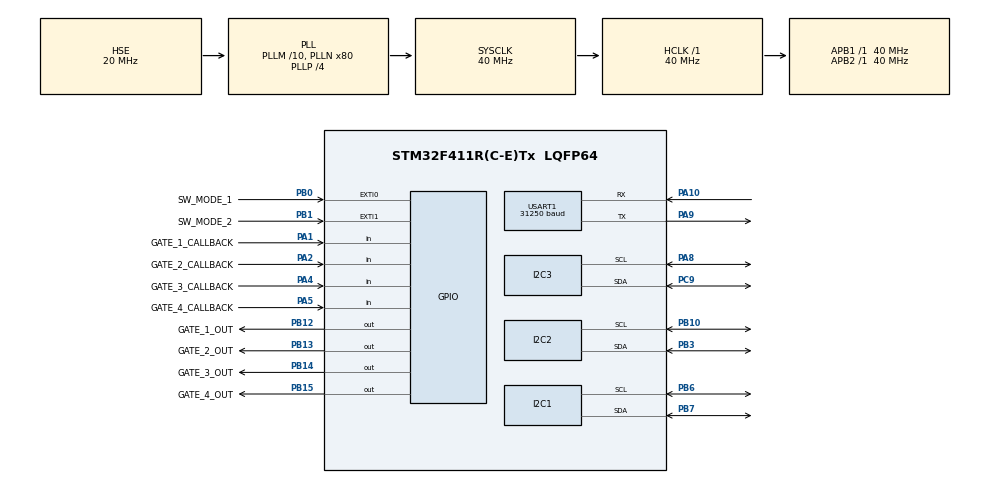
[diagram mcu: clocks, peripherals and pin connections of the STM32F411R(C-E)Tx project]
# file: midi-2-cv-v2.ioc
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I2C1.I2C_Mode=I2C_Fast
I2C2.I2C_Mode=I2C_Fast
I2C3.I2C_Mode=I2C_Fast
Mcu.Family=STM32F4
Mcu.Name=STM32F411R(C-E)Tx
Mcu.Package=LQFP64
NVIC.EXTI0_IRQn=true\:0\:0\:false\:false\:true\:true\:true\:true
NVIC.EXTI1_IRQn=true\:0\:0\:false\:false\:true\:true\:true\:true
NVIC.PriorityGroup=NVIC_PRIORITYGROUP_4
NVIC.RCC_IRQn=true\:0\:0\:false\:false\:true\:true\:false\:true
NVIC.USART1_IRQn=true\:0\:0\:false\:false\:true\:true\:true\:true
PA1.GPIO_Label=GATE_1_CALLBACK
PA1.GPIO_PuPd=GPIO_NOPULL
PA1.Signal=GPIO_Input
PA10.Mode=Asynchronous
PA10.Signal=USART1_RX
PA13.Mode=Serial_Wire
PA13.Signal=SYS_JTMS-SWDIO
PA14.Mode=Serial_Wire
PA14.Signal=SYS_JTCK-SWCLK
PA2.GPIO_Label=GATE_2_CALLBACK
PA2.GPIO_PuPd=GPIO_NOPULL
PA2.Signal=GPIO_Input
PA4.GPIO_Label=GATE_3_CALLBACK
PA4.GPIO_PuPd=GPIO_NOPULL
PA4.Signal=GPIO_Input
PA5.GPIO_Label=GATE_4_CALLBACK
PA5.GPIO_PuPd=GPIO_NOPULL
PA5.Signal=GPIO_Input
PA8.GPIO_Pu=GPIO_PULLUP
PA8.Mode=I2C
PA8.Signal=I2C3_SCL
PA9.Mode=Asynchronous
PA9.Signal=USART1_TX
PB0.GPIO_Label=SW_MODE_1
PB0.GPIO_ModeDefaultEXTI=GPIO_MODE_IT_RISING_FALLING
PB0.GPIO_PuPd=GPIO_PULLUP
PB0.Signal=GPXTI0
PB1.GPIO_Label=SW_MODE_2
PB1.GPIO_ModeDefaultEXTI=GPIO_MODE_IT_RISING_FALLING
PB1.GPIO_PuPd=GPIO_PULLUP
PB1.Signal=GPXTI1
PB10.GPIO_Pu=GPIO_PULLUP
PB10.Mode=I2C
PB10.Signal=I2C2_SCL
PB12.GPIO_Label=GATE_1_OUT
PB12.GPIO_Speed=GPIO_SPEED_FREQ_MEDIUM
PB12.Signal=GPIO_Output
PB13.GPIO_Label=GATE_2_OUT
PB13.Signal=GPIO_Output
PB14.GPIO_Label=GATE_3_OUT
PB14.Signal=GPIO_Output
PB15.GPIO_Label=GATE_4_OUT
PB15.Signal=GPIO_Output
PB3.GPIO_Pu=GPIO_PULLUP
PB3.Mode=I2C
PB3.Signal=I2C2_SDA
PB6.GPIO_Pu=GPIO_PULLUP
PB6.Mode=I2C
PB6.Signal=I2C1_SCL
PB7.GPIO_Pu=GPIO_PULLUP
PB7.Mode=I2C
PB7.Signal=I2C1_SDA
PC9.GPIO_Pu=GPIO_PULLUP
PC9.Mode=I2C
PC9.Signal=I2C3_SDA
PH0\ -\ OSC_IN.Mode=HSE-External-Oscillator
PH0\ -\ OSC_IN.Signal=RCC_OSC_IN
PH1\ -\ OSC_OUT.Mode=HSE-External-Oscillator
PH1\ -\ OSC_OUT.Signal=RCC_OSC_OUT
ProjectManager.HeapSize=0x200
ProjectManager.StackSize=0x400
ProjectManager.TargetToolchain=STM32CubeIDE
RCC.48MHZClocksFreq_Value=40000000
RCC.AHBFreq_Value=40000000
RCC.APB1Freq_Value=40000000
RCC.APB1TimFreq_Value=40000000
RCC.APB2Freq_Value=40000000
RCC.APB2TimFreq_Value=40000000
RCC.CortexFreq_Value=40000000
RCC.HCLKFreq_Value=40000000
RCC.HSE_VALUE=20000000
RCC.HSI_VALUE=16000000
RCC.LSE_VALUE=32768
RCC.PLLM=10
RCC.PLLN=80
RCC.PLLP=RCC_PLLP_DIV4
RCC.PLLSourceVirtual=RCC_PLLSOURCE_HSE
RCC.SYSCLKFreq_VALUE=40000000
RCC.SYSCLKSource=RCC_SYSCLKSOURCE_PLLCLK
RCC.VCOOutputFreq_Value=160000000
USART1.BaudRate=31250
USART1.Mode=MODE_TX_RX
USART1.VirtualMode=VM_ASYNC
VP_RTC_VS_RTC_Activate.Mode=RTC_Enabled
VP_TIM1_VS_ClockSourceINT.Mode=Internal
board=custom

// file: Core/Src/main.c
/* USER CODE BEGIN Header */
/**
  ******************************************************************************
  * @file           : main.c
  * @brief          : Main program body
  ******************************************************************************
  * @attention
  *
  * Copyright (c) 2025 STMicroelectronics.
  * All rights reserved.
  *
  * This software is licensed under terms that can be found in the LICENSE file
  * in the root directory of this software component.
  * If no LICENSE file comes with this software, it is provided AS-IS.
  *
  ******************************************************************************
  */
/* USER CODE END Header */
#include "main.h"

/* USER CODE BEGIN Includes */
#include <sys/types.h>

#include "app/mcp4728.h"
#include "app/midi_handler.h"
#include "app/midi_processor.h"

/* USER CODE END Includes */

I2C_HandleTypeDef hi2c1;
I2C_HandleTypeDef hi2c2;
I2C_HandleTypeDef hi2c3;

RTC_HandleTypeDef hrtc;

TIM_HandleTypeDef htim1;

UART_HandleTypeDef huart1;

/* USER CODE BEGIN PV */

uint8_t midi_received_buf;
struct MIDI_PROCESSOR_config midi_processor_config;

// The mode switch is mechanical and bounces for a few milliseconds. The EXTI handler only
// records that an edge happened; the main loop acts once the contacts have settled.
#define MODE_SWITCH_DEBOUNCE_MS 20
static volatile bool mode_change_pending = false;
static volatile uint32_t mode_change_tick = 0;

/* USER CODE END PV */

void SystemClock_Config(void);
static void MX_GPIO_Init(void);
static void MX_I2C1_Init(void);
static void MX_I2C2_Init(void);
static void MX_I2C3_Init(void);
static void MX_USART1_UART_Init(void);
static void MX_RTC_Init(void);
static void MX_TIM1_Init(void);

/* USER CODE BEGIN 0 */

/*
 * This is the interrupt handler. Make sure that the USART global interrupt is enabled in the IOC
 */
void HAL_UART_RxCpltCallback(UART_HandleTypeDef* huart)
{
    if (huart->Instance == huart1.Instance)
    {
        MIDI_HANDLER_push_buffer(&midi_received_buf);
        HAL_UART_Receive_IT(&huart1, &midi_received_buf, 1);
    }
}

/*
 * On any UART error the HAL aborts the pending receive. Overrun is the realistic one here: a byte
 * arriving while the previous one is still unread. Without re-arming, MIDI would stop dead until
 * the module is power cycled.
 */
void HAL_UART_ErrorCallback(UART_HandleTypeDef* huart)
{
    if (huart->Instance != huart1.Instance)
    {
        return;
    }

    // Clearing any one of these clears the shared status register read sequence
    __HAL_UART_CLEAR_OREFLAG(huart);
    __HAL_UART_CLEAR_NEFLAG(huart);
    __HAL_UART_CLEAR_FEFLAG(huart);
    __HAL_UART_CLEAR_PEFLAG(huart);

    // The byte that caused the error is lost; the parser recovers on the next status byte
    HAL_UART_Receive_IT(&huart1, &midi_received_buf, 1);
}

void HAL_GPIO_EXTI_Callback(uint16_t GPIO_Pin)
{
    // Signature is fixed by the HAL; both mode-switch lines land here. HAL_GPIO_EXTI_IRQHandler
    // has already cleared the pending bit, so there is nothing to acknowledge.
    UNUSED(GPIO_Pin);

    // Only timestamp the edge. Running MIDI_PROCESSOR_mode_changed() here would let
    // reset_channels() preempt note handling half way through an update, and a bouncing switch
    // would re-enter it several times per flick.
    mode_change_pending = true;
    mode_change_tick = HAL_GetTick();
}

/* USER CODE END 0 */

int main(void)
{

  /* MCU Configuration--------------------------------------------------------*/

  /* Reset of all peripherals, Initializes the Flash interface and the Systick. */
  HAL_Init();

  /* Configure the system clock */
  SystemClock_Config();

  /* Initialize all configured peripherals */
  MX_GPIO_Init();
  MX_I2C1_Init();
  MX_I2C2_Init();
  MX_I2C3_Init();
  MX_USART1_UART_Init();
  MX_RTC_Init();
  MX_TIM1_Init();
  /* USER CODE BEGIN 2 */

    // Delay to let things settle before user init
    HAL_Delay(250);

    /*
     * Initialize all the I2C devices for DAC
    */
    if (HAL_I2C_Init(&hi2c1) != HAL_OK)
    {
        Error_Handler();
    }
    if (HAL_I2C_Init(&hi2c2) != HAL_OK)
    {
        Error_Handler();
    }
    if (HAL_I2C_Init(&hi2c3) != HAL_OK)
    {
        Error_Handler();
    }

    /*
     * Put the DACs into the configuration the output scaling assumes: internal 2.048V reference at
     * gain 1. Fast Write carries no Vref/gain bits, so without this every voltage depends on
     * whatever the chips happen to hold in EEPROM.
     *
     * A failure here is deliberately not fatal: a module that outputs mis-scaled CV is still more
     * useful on stage than one that sits in Error_Handler(), and the most likely cause is a
     * transient I2C fault rather than a dead DAC.
     */
    MCP4728_Init(&hi2c1);
    MCP4728_Init(&hi2c2);
    MCP4728_Init(&hi2c3);

    /*
     * Set up the MIDI Handler that will process all incoming MIDI messages and convert them into MIDI events
     */
    Buffer rx_buffer;

    struct MIDI_HANDLER_config midi_handler_config;
    midi_handler_config.buffer = &rx_buffer;

    // A failure here means the ring buffer could not be allocated, so no MIDI can be received at
    // all. Nothing downstream works, so fail loudly rather than run as a dead module.
    if (MIDI_HANDLER_init(&midi_handler_config) < 0)
    {
        Error_Handler();
    }

    /*
     * Set up the MIDI Processor, that will convert the midi event into output over the DAC/Gates
     */
    midi_processor_config.cv_dac1 = &hi2c1;
    midi_processor_config.vel_dac2 = &hi2c2;
    midi_processor_config.mod_dac3 = &hi2c3;
    midi_processor_config.mode = MIDI_MODE_POLY;

    // Which outputs are usable is measured from the jack-detect lines, not configured here
    if (MIDI_PROCESSOR_init(&midi_processor_config) < 0)
    {
        Error_Handler();
    }

  /* USER CODE END 2 */

  /* Infinite loop */
  /* USER CODE BEGIN WHILE */

    // Start the first receive operation
    HAL_UART_Receive_IT(&huart1, &midi_received_buf, 1);

    // Delay to let things set up
    HAL_Delay(250);

    MIDI_PROCESSOR_mode_changed();

    HAL_Delay(10);

    while (1)
    {
        // Apply a mode change once the switch has been quiet for the debounce window. Each new
        // edge pushes the deadline out, so only the final resting position takes effect.
        if (mode_change_pending && (HAL_GetTick() - mode_change_tick) >= MODE_SWITCH_DEBOUNCE_MS)
        {
            mode_change_pending = false;
            MIDI_PROCESSOR_mode_changed();
        }

        // initialize a midi_event
        MIDI_event midi_event;

    /* USER CODE END WHILE */

    /* USER CODE BEGIN 3 */

        // if there is an event
        if (MIDI_HANDLER_get_event(&midi_event) > 0)
        {
            // process the midi event
            MIDI_PROCESSOR_handle_event(&midi_event);
        }
    }
  /* USER CODE END 3 */
}

void SystemClock_Config(void)
{
  RCC_OscInitTypeDef RCC_OscInitStruct = {0};
  RCC_ClkInitTypeDef RCC_ClkInitStruct = {0};

  /** Configure the main internal regulator output voltage
  */
  __HAL_RCC_PWR_CLK_ENABLE();
  __HAL_PWR_VOLTAGESCALING_CONFIG(PWR_REGULATOR_VOLTAGE_SCALE1);

  /** Initializes the RCC Oscillators according to the specified parameters
  * in the RCC_OscInitTypeDef structure.
  */
  RCC_OscInitStruct.OscillatorType = RCC_OSCILLATORTYPE_LSI|RCC_OSCILLATORTYPE_HSE;
  RCC_OscInitStruct.HSEState = RCC_HSE_ON;
  RCC_OscInitStruct.LSIState = RCC_LSI_ON;
  RCC_OscInitStruct.PLL.PLLState = RCC_PLL_ON;
  RCC_OscInitStruct.PLL.PLLSource = RCC_PLLSOURCE_HSE;
  RCC_OscInitStruct.PLL.PLLM = 10;
  RCC_OscInitStruct.PLL.PLLN = 80;
  RCC_OscInitStruct.PLL.PLLP = RCC_PLLP_DIV4;
  RCC_OscInitStruct.PLL.PLLQ = 4;
  if (HAL_RCC_OscConfig(&RCC_OscInitStruct) != HAL_OK)
  {
    Error_Handler();
  }

  /** Initializes the CPU, AHB and APB buses clocks
  */
  RCC_ClkInitStruct.ClockType = RCC_CLOCKTYPE_HCLK|RCC_CLOCKTYPE_SYSCLK
                              |RCC_CLOCKTYPE_PCLK1|RCC_CLOCKTYPE_PCLK2;
  RCC_ClkInitStruct.SYSCLKSource = RCC_SYSCLKSOURCE_PLLCLK;
  RCC_ClkInitStruct.AHBCLKDivider = RCC_SYSCLK_DIV1;
  RCC_ClkInitStruct.APB1CLKDivider = RCC_HCLK_DIV1;
  RCC_ClkInitStruct.APB2CLKDivider = RCC_HCLK_DIV1;

  if (HAL_RCC_ClockConfig(&RCC_ClkInitStruct, FLASH_LATENCY_1) != HAL_OK)
  {
    Error_Handler();
  }
}

static void MX_I2C1_Init(void)
{

  hi2c1.Instance = I2C1;
  hi2c1.Init.ClockSpeed = 400000;
  hi2c1.Init.DutyCycle = I2C_DUTYCYCLE_2;
  hi2c1.Init.OwnAddress1 = 0;
  hi2c1.Init.AddressingMode = I2C_ADDRESSINGMODE_7BIT;
  hi2c1.Init.DualAddressMode = I2C_DUALADDRESS_DISABLE;
  hi2c1.Init.OwnAddress2 = 0;
  hi2c1.Init.GeneralCallMode = I2C_GENERALCALL_DISABLE;
  hi2c1.Init.NoStretchMode = I2C_NOSTRETCH_DISABLE;
  if (HAL_I2C_Init(&hi2c1) != HAL_OK)
  {
    Error_Handler();
  }

}

static void MX_I2C2_Init(void)
{

  hi2c2.Instance = I2C2;
  hi2c2.Init.ClockSpeed = 400000;
  hi2c2.Init.DutyCycle = I2C_DUTYCYCLE_2;
  hi2c2.Init.OwnAddress1 = 0;
  hi2c2.Init.AddressingMode = I2C_ADDRESSINGMODE_7BIT;
  hi2c2.Init.DualAddressMode = I2C_DUALADDRESS_DISABLE;
  hi2c2.Init.OwnAddress2 = 0;
  hi2c2.Init.GeneralCallMode = I2C_GENERALCALL_DISABLE;
  hi2c2.Init.NoStretchMode = I2C_NOSTRETCH_DISABLE;
  if (HAL_I2C_Init(&hi2c2) != HAL_OK)
  {
    Error_Handler();
  }

}

static void MX_I2C3_Init(void)
{

  hi2c3.Instance = I2C3;
  hi2c3.Init.ClockSpeed = 400000;
  hi2c3.Init.DutyCycle = I2C_DUTYCYCLE_2;
  hi2c3.Init.OwnAddress1 = 0;
  hi2c3.Init.AddressingMode = I2C_ADDRESSINGMODE_7BIT;
  hi2c3.Init.DualAddressMode = I2C_DUALADDRESS_DISABLE;
  hi2c3.Init.OwnAddress2 = 0;
  hi2c3.Init.GeneralCallMode = I2C_GENERALCALL_DISABLE;
  hi2c3.Init.NoStretchMode = I2C_NOSTRETCH_DISABLE;
  if (HAL_I2C_Init(&hi2c3) != HAL_OK)
  {
    Error_Handler();
  }

}

static void MX_RTC_Init(void)
{

  /** Initialize RTC Only
  */
  hrtc.Instance = RTC;
  hrtc.Init.HourFormat = RTC_HOURFORMAT_24;
  hrtc.Init.AsynchPrediv = 127;
  hrtc.Init.SynchPrediv = 255;
  hrtc.Init.OutPut = RTC_OUTPUT_DISABLE;
  hrtc.Init.OutPutPolarity = RTC_OUTPUT_POLARITY_HIGH;
  hrtc.Init.OutPutType = RTC_OUTPUT_TYPE_OPENDRAIN;
  if (HAL_RTC_Init(&hrtc) != HAL_OK)
  {
    Error_Handler();
  }

}

static void MX_TIM1_Init(void)
{

  TIM_ClockConfigTypeDef sClockSourceConfig = {0};
  TIM_MasterConfigTypeDef sMasterConfig = {0};

  htim1.Instance = TIM1;
  htim1.Init.Prescaler = 0;
  htim1.Init.CounterMode = TIM_COUNTERMODE_UP;
  htim1.Init.Period = 65535;
  htim1.Init.ClockDivision = TIM_CLOCKDIVISION_DIV1;
  htim1.Init.RepetitionCounter = 0;
  htim1.Init.AutoReloadPreload = TIM_AUTORELOAD_PRELOAD_DISABLE;
  if (HAL_TIM_Base_Init(&htim1) != HAL_OK)
  {
    Error_Handler();
  }
  sClockSourceConfig.ClockSource = TIM_CLOCKSOURCE_INTERNAL;
  if (HAL_TIM_ConfigClockSource(&htim1, &sClockSourceConfig) != HAL_OK)
  {
    Error_Handler();
  }
  sMasterConfig.MasterOutputTrigger = TIM_TRGO_RESET;
  sMasterConfig.MasterSlaveMode = TIM_MASTERSLAVEMODE_DISABLE;
  if (HAL_TIMEx_MasterConfigSynchronization(&htim1, &sMasterConfig) != HAL_OK)
  {
    Error_Handler();
  }

}

static void MX_USART1_UART_Init(void)
{

  huart1.Instance = USART1;
  huart1.Init.BaudRate = 31250;
  huart1.Init.WordLength = UART_WORDLENGTH_8B;
  huart1.Init.StopBits = UART_STOPBITS_1;
  huart1.Init.Parity = UART_PARITY_NONE;
  huart1.Init.Mode = UART_MODE_TX_RX;
  huart1.Init.HwFlowCtl = UART_HWCONTROL_NONE;
  huart1.Init.OverSampling = UART_OVERSAMPLING_16;
  if (HAL_UART_Init(&huart1) != HAL_OK)
  {
    Error_Handler();
  }
  /* USER CODE BEGIN USART1_Init 2 */

    // NVIC for USART1 is enabled by HAL_UART_MspInit; only the RXNE source is set here
    __HAL_UART_ENABLE_IT(&huart1, UART_IT_RXNE);

  /* USER CODE END USART1_Init 2 */

}

static void MX_GPIO_Init(void)
{
  GPIO_InitTypeDef GPIO_InitStruct = {0};

  /* GPIO Ports Clock Enable */
  __HAL_RCC_GPIOH_CLK_ENABLE();
  __HAL_RCC_GPIOB_CLK_ENABLE();
  __HAL_RCC_GPIOC_CLK_ENABLE();
  __HAL_RCC_GPIOA_CLK_ENABLE();

  /*Configure GPIO pin Output Level */
  HAL_GPIO_WritePin(GPIOB, GATE_1_OUT_Pin|GATE_2_OUT_Pin|GATE_3_OUT_Pin|GATE_4_OUT_Pin, GPIO_PIN_RESET);

  /*Configure GPIO pins : SW_MODE_1_Pin SW_MODE_2_Pin */
  GPIO_InitStruct.Pin = SW_MODE_1_Pin|SW_MODE_2_Pin;
  GPIO_InitStruct.Mode = GPIO_MODE_IT_RISING_FALLING;
  GPIO_InitStruct.Pull = GPIO_PULLUP;
  HAL_GPIO_Init(GPIOB, &GPIO_InitStruct);

  /*Configure GPIO pin : GATE_1_OUT_Pin */
  GPIO_InitStruct.Pin = GATE_1_OUT_Pin;
  GPIO_InitStruct.Mode = GPIO_MODE_OUTPUT_PP;
  GPIO_InitStruct.Pull = GPIO_NOPULL;
  GPIO_InitStruct.Speed = GPIO_SPEED_FREQ_MEDIUM;
  HAL_GPIO_Init(GATE_1_OUT_GPIO_Port, &GPIO_InitStruct);

  /*Configure GPIO pins : GATE_2_OUT_Pin GATE_3_OUT_Pin GATE_4_OUT_Pin */
  GPIO_InitStruct.Pin = GATE_2_OUT_Pin|GATE_3_OUT_Pin|GATE_4_OUT_Pin;
  GPIO_InitStruct.Mode = GPIO_MODE_OUTPUT_PP;
  GPIO_InitStruct.Pull = GPIO_NOPULL;
  GPIO_InitStruct.Speed = GPIO_SPEED_FREQ_LOW;
  HAL_GPIO_Init(GPIOB, &GPIO_InitStruct);

  /* EXTI interrupt init*/
  HAL_NVIC_SetPriority(EXTI0_IRQn, 0, 0);
  HAL_NVIC_EnableIRQ(EXTI0_IRQn);

  HAL_NVIC_SetPriority(EXTI1_IRQn, 0, 0);
  HAL_NVIC_EnableIRQ(EXTI1_IRQn);

/* USER CODE BEGIN MX_GPIO_Init_2 */

  /* Jack-detect inputs for the four gate outputs. No internal pull: the board already has a 100K
     pull-up (R32 and friends) on each line, and an internal pull-up would fight the gate driver
     that these lines sit on while a jack is empty. */
  GPIO_InitStruct.Pin = GATE_1_CALLBACK_Pin|GATE_2_CALLBACK_Pin|GATE_3_CALLBACK_Pin|GATE_4_CALLBACK_Pin;
  GPIO_InitStruct.Mode = GPIO_MODE_INPUT;
  GPIO_InitStruct.Pull = GPIO_NOPULL;
  HAL_GPIO_Init(GPIOA, &GPIO_InitStruct);

/* USER CODE END MX_GPIO_Init_2 */
}

void Error_Handler(void)
{
    __disable_irq();
    while (1)
    {
    }
}
